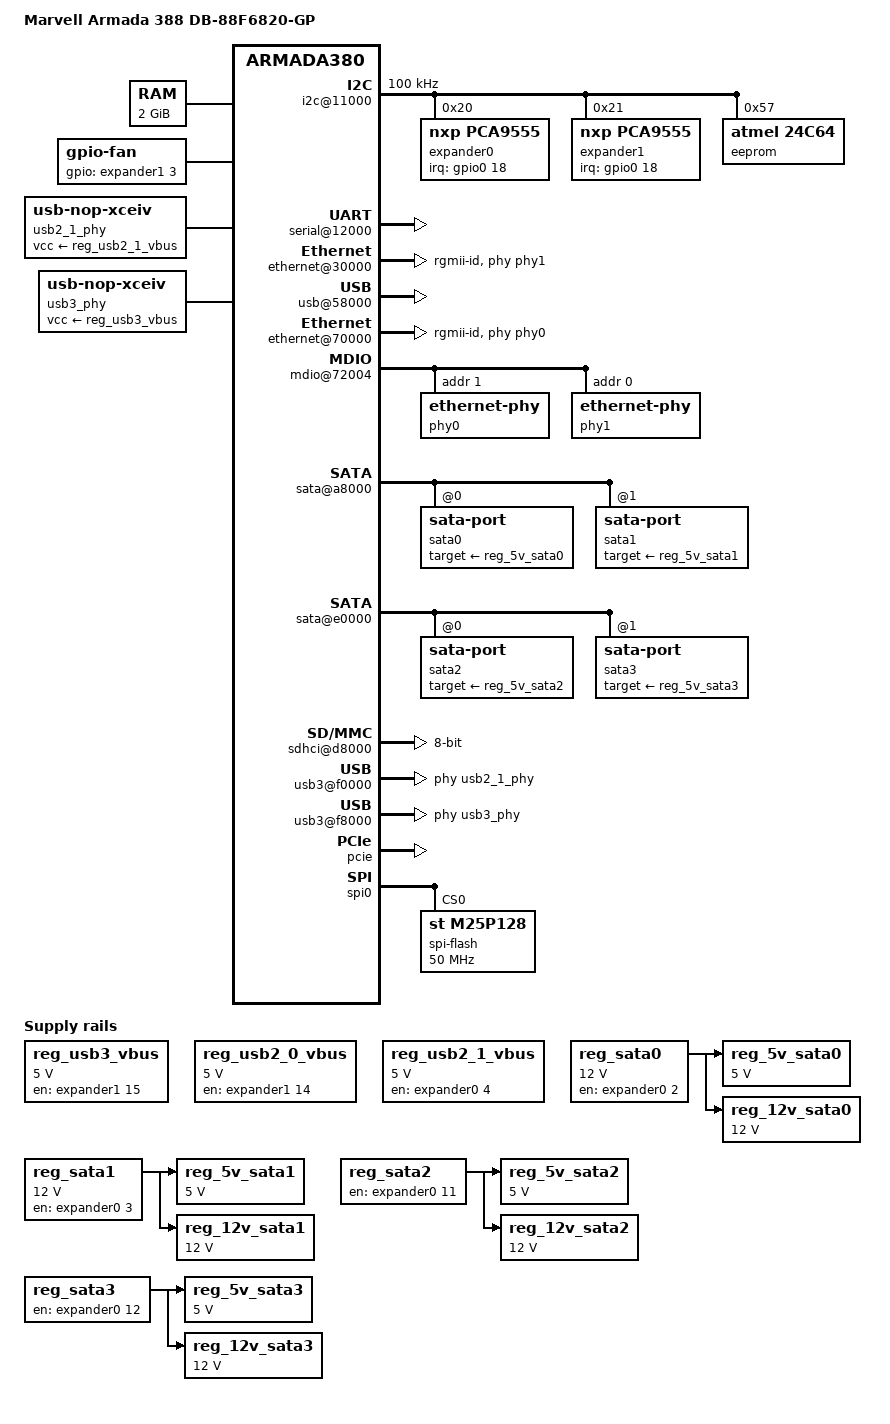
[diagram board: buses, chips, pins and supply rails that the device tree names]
/*
 * Device Tree file for Marvell Armada 385 development board
 * (RD-88F6820-GP)
 *
 * Copyright (C) 2014 Marvell
 *
 * Gregory CLEMENT <gregory.clement@free-electrons.com>
 *
 * This file is dual-licensed: you can use it either under the terms
 * of the GPL or the X11 license, at your option. Note that this dual
 * licensing only applies to this file, and not this project as a
 * whole.
 *
 *  a) This file is licensed under the terms of the GNU General Public
 *     License version 2.  This program is licensed "as is" without
 *     any warranty of any kind, whether express or implied.
 *
 * Or, alternatively,
 *
 *  b) Permission is hereby granted, free of charge, to any person
 *     obtaining a copy of this software and associated documentation
 *     files (the "Software"), to deal in the Software without
 *     restriction, including without limitation the rights to use,
 *     copy, modify, merge, publish, distribute, sublicense, and/or
 *     sell copies of the Software, and to permit persons to whom the
 *     Software is furnished to do so, subject to the following
 *     conditions:
 *
 *     The above copyright notice and this permission notice shall be
 *     included in all copies or substantial portions of the Software.
 *
 *     THE SOFTWARE IS PROVIDED "AS IS", WITHOUT WARRANTY OF ANY KIND,
 *     EXPRESS OR IMPLIED, INCLUDING BUT NOT LIMITED TO THE WARRANTIES
 *     OF MERCHANTABILITY, FITNESS FOR A PARTICULAR PURPOSE AND
 *     NONINFRINGEMENT. IN NO EVENT SHALL THE AUTHORS OR COPYRIGHT
 *     HOLDERS BE LIABLE FOR ANY CLAIM, DAMAGES OR OTHER LIABILITY,
 *     WHETHER IN AN ACTION OF CONTRACT, TORT OR OTHERWISE, ARISING
 *     FROM, OUT OF OR IN CONNECTION WITH THE SOFTWARE OR THE USE OR
 *     OTHER DEALINGS IN THE SOFTWARE.
 */

/dts-v1/;
#include "armada-388.dtsi"
#include <dt-bindings/gpio/gpio.h>

/ {
	model = "Marvell Armada 388 DB-88F6820-GP";
	compatible = "marvell,a388-gp", "marvell,armada388", "marvell,armada380";

	chosen {
		stdout-path = "serial0:115200n8";
	};

	memory {
		device_type = "memory";
		reg = <0x00000000 0x80000000>; /* 2 GB */
	};

	soc {
		ranges = <MBUS_ID(0xf0, 0x01) 0 0xf1000000 0x100000
			  MBUS_ID(0x01, 0x1d) 0 0xfff00000 0x100000
			  MBUS_ID(0x09, 0x19) 0 0xf1100000 0x10000
			  MBUS_ID(0x09, 0x15) 0 0xf1110000 0x10000
			  MBUS_ID(0x0c, 0x04) 0 0xf1200000 0x100000>;

		internal-regs {
			i2c@11000 {
				pinctrl-names = "default";
				pinctrl-0 = <&i2c0_pins>;
				status = "okay";
				clock-frequency = <100000>;

				expander0: pca9555@20 {
					compatible = "nxp,pca9555";
					pinctrl-names = "default";
					pinctrl-0 = <&pca0_pins>;
					interrupt-parent = <&gpio0>;
					interrupts = <18 IRQ_TYPE_LEVEL_LOW>;
					gpio-controller;
					#gpio-cells = <2>;
					interrupt-controller;
					#interrupt-cells = <2>;
					reg = <0x20>;
				};

				expander1: pca9555@21 {
					compatible = "nxp,pca9555";
					pinctrl-names = "default";
					interrupt-parent = <&gpio0>;
					interrupts = <18 IRQ_TYPE_LEVEL_LOW>;
					gpio-controller;
					#gpio-cells = <2>;
					interrupt-controller;
					#interrupt-cells = <2>;
					reg = <0x21>;
				};

				eeprom@57 {
					compatible = "atmel,24c64";
					reg = <0x57>;
				};
			};

			serial@12000 {
				/*
				 * Exported on the micro USB connector CON16
				 * through an FTDI
				 */

				pinctrl-names = "default";
				pinctrl-0 = <&uart0_pins>;
				status = "okay";
			};

			/* GE1 CON15 */
			ethernet@30000 {
				pinctrl-names = "default";
				pinctrl-0 = <&ge1_rgmii_pins>;
				status = "okay";
				phy = <&phy1>;
				phy-mode = "rgmii-id";
				buffer-manager = <&bm>;
				bm,pool-long = <2>;
				bm,pool-short = <3>;
			};

			/* CON4 */
			usb@58000 {
				vcc-supply = <&reg_usb2_0_vbus>;
				status = "okay";
			};

			/* GE0 CON1 */
			ethernet@70000 {
				pinctrl-names = "default";
				/*
				 * The Reference Clock 0 is used to provide a
				 * clock to the PHY
				 */
				pinctrl-0 = <&ge0_rgmii_pins>, <&ref_clk0_pins>;
				status = "okay";
				phy = <&phy0>;
				phy-mode = "rgmii-id";
				buffer-manager = <&bm>;
				bm,pool-long = <0>;
				bm,pool-short = <1>;
			};


			mdio@72004 {
				pinctrl-names = "default";
				pinctrl-0 = <&mdio_pins>;

				phy0: ethernet-phy@1 {
					reg = <1>;
				};

				phy1: ethernet-phy@0 {
					reg = <0>;
				};
			};

			sata@a8000 {
				pinctrl-names = "default";
				pinctrl-0 = <&sata0_pins>, <&sata1_pins>;
				status = "okay";
				#address-cells = <1>;
				#size-cells = <0>;

				sata0: sata-port@0 {
					reg = <0>;
					target-supply = <&reg_5v_sata0>;
				};

				sata1: sata-port@1 {
					reg = <1>;
					target-supply = <&reg_5v_sata1>;
				};
			};

			bm@c8000 {
				status = "okay";
			};

			sata@e0000 {
				pinctrl-names = "default";
				pinctrl-0 = <&sata2_pins>, <&sata3_pins>;
				status = "okay";
				#address-cells = <1>;
				#size-cells = <0>;

				sata2: sata-port@0 {
					reg = <0>;
					target-supply = <&reg_5v_sata2>;
				};

				sata3: sata-port@1 {
					reg = <1>;
					target-supply = <&reg_5v_sata3>;
				};
			};

			sdhci@d8000 {
				pinctrl-names = "default";
				pinctrl-0 = <&sdhci_pins>;
				no-1-8-v;
				/*
				 * A388-GP board v1.5 and higher replace
				 * hitherto card detection method based on GPIO
				 * with the one using DAT3 pin. As they are
				 * incompatible, software-based polling is
				 * enabled with 'broken-cd' property. For boards
				 * older than v1.5 it can be replaced with:
				 * 'cd-gpios = <&expander0 5 GPIO_ACTIVE_LOW>;',
				 * whereas for the newer ones following can be
				 * used instead:
				 * 'dat3-cd;'
				 * 'cd-inverted;'
				 */
				broken-cd;
				wp-inverted;
				bus-width = <8>;
				status = "okay";
			};

			/* CON5 */
			usb3@f0000 {
				usb-phy = <&usb2_1_phy>;
				status = "okay";
			};

			/* CON7 */
			usb3@f8000 {
				usb-phy = <&usb3_phy>;
				status = "okay";
			};
		};

		bm-bppi {
			status = "okay";
		};

		pcie {
			status = "okay";
			/*
			 * One PCIe units is accessible through
			 * standard PCIe slot on the board.
			 */
			pcie@1,0 {
				/* Port 0, Lane 0 */
				status = "okay";
			};

			/*
			 * The two other PCIe units are accessible
			 * through mini PCIe slot on the board.
			 */
			pcie@2,0 {
				/* Port 1, Lane 0 */
				status = "okay";
			};
			pcie@3,0 {
				/* Port 2, Lane 0 */
				status = "okay";
			};
		};

		gpio-fan {
			compatible = "gpio-fan";
			gpios = <&expander1 3 GPIO_ACTIVE_HIGH>;
			gpio-fan,speed-map = <	 0 0
					      3000 1>;
		};
	};

	usb2_1_phy: usb2_1_phy {
		compatible = "usb-nop-xceiv";
		vcc-supply = <&reg_usb2_1_vbus>;
		#phy-cells = <0>;
	};

	usb3_phy: usb3_phy {
		compatible = "usb-nop-xceiv";
		vcc-supply = <&reg_usb3_vbus>;
		#phy-cells = <0>;
	};

	reg_usb3_vbus: usb3-vbus {
		compatible = "regulator-fixed";
		regulator-name = "usb3-vbus";
		regulator-min-microvolt = <5000000>;
		regulator-max-microvolt = <5000000>;
		enable-active-high;
		gpio = <&expander1 15 GPIO_ACTIVE_HIGH>;
	};

	reg_usb2_0_vbus: v5-vbus0 {
		compatible = "regulator-fixed";
		regulator-name = "v5.0-vbus0";
		regulator-min-microvolt = <5000000>;
		regulator-max-microvolt = <5000000>;
		enable-active-high;
		regulator-always-on;
		gpio = <&expander1 14 GPIO_ACTIVE_HIGH>;
	};

	reg_usb2_1_vbus: v5-vbus1 {
		compatible = "regulator-fixed";
		regulator-name = "v5.0-vbus1";
		regulator-min-microvolt = <5000000>;
		regulator-max-microvolt = <5000000>;
		enable-active-high;
		gpio = <&expander0 4 GPIO_ACTIVE_HIGH>;
	};

	reg_sata0: pwr-sata0 {
		compatible = "regulator-fixed";
		regulator-name = "pwr_en_sata0";
		regulator-min-microvolt = <12000000>;
		regulator-max-microvolt = <12000000>;
		enable-active-high;
		regulator-boot-on;
		gpio = <&expander0 2 GPIO_ACTIVE_HIGH>;
	};

	reg_5v_sata0: v5-sata0 {
		compatible = "regulator-fixed";
		regulator-name = "v5.0-sata0";
		regulator-min-microvolt = <5000000>;
		regulator-max-microvolt = <5000000>;
		vin-supply = <&reg_sata0>;
	};

	reg_12v_sata0: v12-sata0 {
		compatible = "regulator-fixed";
		regulator-name = "v12.0-sata0";
		regulator-min-microvolt = <12000000>;
		regulator-max-microvolt = <12000000>;
		vin-supply = <&reg_sata0>;
	};

	reg_sata1: pwr-sata1 {
		regulator-name = "pwr_en_sata1";
		compatible = "regulator-fixed";
		regulator-min-microvolt = <12000000>;
		regulator-max-microvolt = <12000000>;
		enable-active-high;
		regulator-boot-on;
		gpio = <&expander0 3 GPIO_ACTIVE_HIGH>;
	};

	reg_5v_sata1: v5-sata1 {
		compatible = "regulator-fixed";
		regulator-name = "v5.0-sata1";
		regulator-min-microvolt = <5000000>;
		regulator-max-microvolt = <5000000>;
		vin-supply = <&reg_sata1>;
	};

	reg_12v_sata1: v12-sata1 {
		compatible = "regulator-fixed";
		regulator-name = "v12.0-sata1";
		regulator-min-microvolt = <12000000>;
		regulator-max-microvolt = <12000000>;
		vin-supply = <&reg_sata1>;
	};

	reg_sata2: pwr-sata2 {
		compatible = "regulator-fixed";
		regulator-name = "pwr_en_sata2";
		enable-active-high;
		regulator-boot-on;
		gpio = <&expander0 11 GPIO_ACTIVE_HIGH>;
	};

	reg_5v_sata2: v5-sata2 {
		compatible = "regulator-fixed";
		regulator-name = "v5.0-sata2";
		regulator-min-microvolt = <5000000>;
		regulator-max-microvolt = <5000000>;
		vin-supply = <&reg_sata2>;
	};

	reg_12v_sata2: v12-sata2 {
		compatible = "regulator-fixed";
		regulator-name = "v12.0-sata2";
		regulator-min-microvolt = <12000000>;
		regulator-max-microvolt = <12000000>;
		vin-supply = <&reg_sata2>;
	};

	reg_sata3: pwr-sata3 {
		compatible = "regulator-fixed";
		regulator-name = "pwr_en_sata3";
		enable-active-high;
		regulator-boot-on;
		gpio = <&expander0 12 GPIO_ACTIVE_HIGH>;
	};

	reg_5v_sata3: v5-sata3 {
		compatible = "regulator-fixed";
		regulator-name = "v5.0-sata3";
		regulator-min-microvolt = <5000000>;
		regulator-max-microvolt = <5000000>;
		vin-supply = <&reg_sata3>;
	};

	reg_12v_sata3: v12-sata3 {
		compatible = "regulator-fixed";
		regulator-name = "v12.0-sata3";
		regulator-min-microvolt = <12000000>;
		regulator-max-microvolt = <12000000>;
		vin-supply = <&reg_sata3>;
	};
};

&pinctrl {
	pca0_pins: pca0_pins {
		marvell,pins = "mpp18";
		marvell,function = "gpio";
	};
};

&spi0 {
	pinctrl-names = "default";
	pinctrl-0 = <&spi0_pins>;
	status = "okay";

	spi-flash@0 {
		#address-cells = <1>;
		#size-cells = <1>;
		compatible = "st,m25p128", "jedec,spi-nor";
		reg = <0>; /* Chip select 0 */
		spi-max-frequency = <50000000>;
		m25p,fast-read;
	};
};
